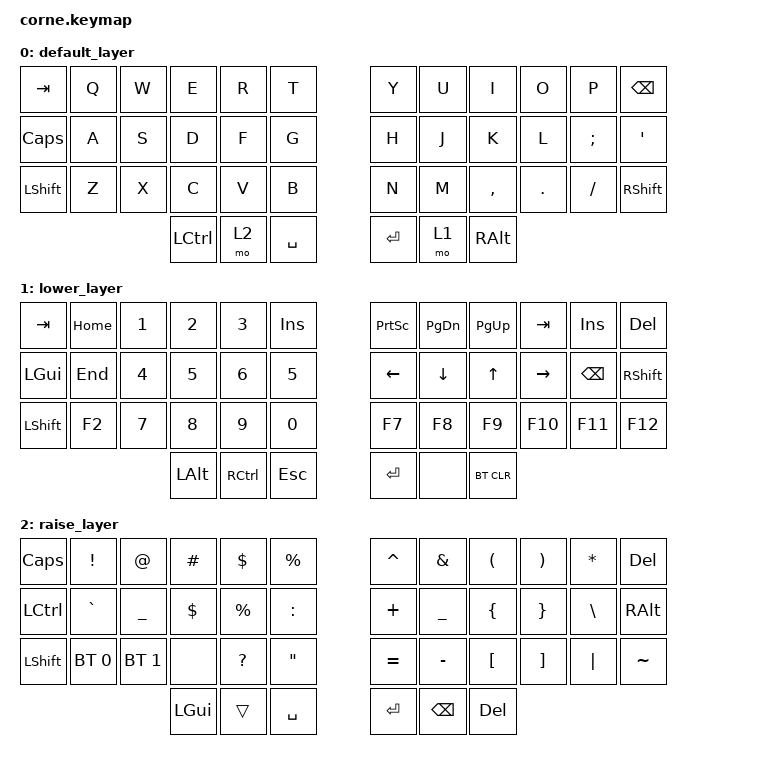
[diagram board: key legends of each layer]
/*
 * Copyright (c) 2020 The ZMK Contributors
 *
 * SPDX-License-Identifier: MIT
 */

#include <behaviors.dtsi>
#include <dt-bindings/zmk/bt.h>
#include <dt-bindings/zmk/keys.h>

/ {
    combos {
        compatible = "zmk,combos";

        combo_esc {
            timeout-ms = <50>;
            key-positions = <0 1>;
            bindings = <&kp ESC>;
        };
    };

    behaviors {
        ss_hs_modmorph: ss_hs_modmorph {
            compatible = "zmk,behavior-mod-morph";
            label = "SS_HS_MODMORPH";
            bindings = <&kp M>, <&kp RIGHT_BRACKET>;

            #binding-cells = <0>;
            mods = <(MOD_LSFT|MOD_RSFT)>;
        };

        kh_hs_tapdance: kh_hs_tapdance {
            compatible = "zmk,behavior-tap-dance";
            label = "KH_HS_TAPDANCE";
            #binding-cells = <0>;
            tapping-term-ms = <200>;
            bindings = <&kp LEFT_BRACKET>, <&kp RIGHT_BRACKET>;
        };

        hrm: hrm {
            compatible = "zmk,behavior-hold-tap";
            #binding-cells = <2>;
            flavor = "tap-preferred";
            tapping-term-ms = <200>;
            quick-tap-ms = <200>;
            require-prior-idle-ms = <125>;
            bindings = <&kp>, <&kp>;
        };
    };

    keymap {
        compatible = "zmk,keymap";

        default_layer {
            // -----------------------------------------------------------------------------------------
            // |  TAB |  Q  |  W  |  E  |  R  |  T  |   |  Y  |  U   |  I  |  O  |  P  | BKSP |
            // | CTRL |  A  |  S  |  D  |  F  |  G  |   |  H  |  J   |  K  |  L  |  ;  |  '   |
            // | SHFT |  Z  |  X  |  C  |  V  |  B  |   |  N  |  M   |  ,  |  .  |  /  | ESC  |
            //                    | GUI | LWR | SPC |   | ENT | RSE  | ALT |

            bindings = <
&kp TAB    &kp Q  &kp W  &kp E      &kp R  &kp T        &kp Y    &kp U  &kp I      &kp O       &kp P          &kp BSPC
&kp CAPS   &kp A  &kp S  &kp D      &kp F  &kp G        &kp H    &kp J  &kp K      &kp L       &kp SEMICOLON  &kp SQT
&kp LSHFT  &kp Z  &kp X  &kp C      &kp V  &kp B        &kp N    &kp M  &kp COMMA  &kp PERIOD  &kp FSLH       &kp RSHFT
                         &kp LCTRL  &mo 2  &kp SPACE    &kp RET  &mo 1  &kp RALT
            >;
        };

        lower_layer {
            // -----------------------------------------------------------------------------------------
            // |  TAB |  1  |  2  |  3  |  4  |  5  |   |  6  |  7  |  8  |  9  |  0  | BKSP |
            // | BTCLR| BT1 | BT2 | BT3 | BT4 | BT5 |   | LFT | DWN |  UP | RGT |     |      |
            // | SHFT |     |     |     |     |     |   |     |     |     |     |     |      |
            //                    | GUI |     | SPC |   | ENT |     | ALT |

            bindings = <
&kp TAB         &kp HOME  &kp NUMBER_1  &kp NUMBER_2  &kp NUMBER_3  &kp INSERT      &kp PSCRN  &kp PAGE_DOWN   &kp PG_UP     &kp TAB    &kp INS        &kp DELETE
&kp LEFT_GUI    &kp END   &kp NUMBER_4  &kp N5        &kp NUMBER_6  &kp NUMBER_5    &kp LEFT   &kp DOWN_ARROW  &kp UP_ARROW  &kp RIGHT  &kp BACKSPACE  &kp RIGHT_SHIFT
&kp LEFT_SHIFT  &kp F2    &kp N7        &kp N8        &kp N9        &kp NUMBER_0    &kp F7     &kp F8          &kp F9        &kp F10    &kp F11        &kp F12
                                        &kp LEFT_ALT  &kp RCTRL     &kp ESCAPE      &kp RET    &none           &bt BT_CLR
            >;
        };

        raise_layer {
            // -----------------------------------------------------------------------------------------
            // |  TAB |  !  |  @  |  #  |  $  |  %  |   |  ^  |  &  |  *  |  (  |  )  | BKSP |
            // | CTRL |     |     |     |     |     |   |  -  |  =  |  [  |  ]  |  \  |  `   |
            // | SHFT |     |     |     |     |     |   |  _  |  +  |  {  |  }  | "|" |  ~   |
            //                    | GUI |     | SPC |   | ENT |     | ALT |

            bindings = <
&kp CAPS   &kp EXCL      &kp AT          &kp HASH    &kp DLLR      &kp PRCNT            &kp CARET  &kp AMPS        &kp LEFT_PARENTHESIS  &kp RIGHT_PARENTHESIS  &kp ASTERISK  &kp DELETE
&kp LCTRL  &kp GRAVE     &kp UNDERSCORE  &kp DOLLAR  &kp PERCENT   &kp COLON            &kp PLUS   &kp UNDERSCORE  &kp LEFT_BRACE        &kp RIGHT_BRACE        &kp BSLH      &kp RIGHT_ALT
&kp LSHFT  &bt BT_SEL 0  &bt BT_SEL 1    &none       &kp QUESTION  &kp DOUBLE_QUOTES    &kp EQUAL  &kp MINUS       &kp LEFT_BRACKET      &kp RIGHT_BRACKET      &kp PIPE      &kp TILDE
                                         &kp LGUI    &trans        &kp SPACE            &kp RET    &kp BACKSPACE   &kp DELETE
            >;
        };
    };
};
